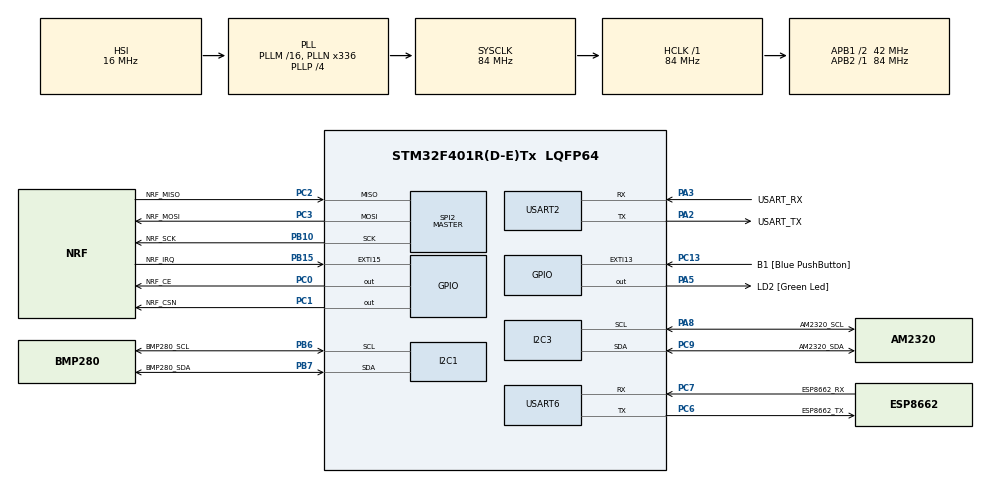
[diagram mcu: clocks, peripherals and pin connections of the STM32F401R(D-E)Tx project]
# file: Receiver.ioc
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Dma.Request0=USART6_RX
Dma.USART6_RX.0.Direction=DMA_PERIPH_TO_MEMORY
Dma.USART6_RX.0.FIFOMode=DMA_FIFOMODE_DISABLE
Dma.USART6_RX.0.Instance=DMA2_Stream1
Dma.USART6_RX.0.MemDataAlignment=DMA_MDATAALIGN_BYTE
Dma.USART6_RX.0.MemInc=DMA_MINC_ENABLE
Dma.USART6_RX.0.Mode=DMA_NORMAL
Dma.USART6_RX.0.PeriphDataAlignment=DMA_PDATAALIGN_BYTE
Dma.USART6_RX.0.PeriphInc=DMA_PINC_DISABLE
Dma.USART6_RX.0.Priority=DMA_PRIORITY_LOW
Mcu.Family=STM32F4
Mcu.Name=STM32F401R(D-E)Tx
Mcu.Package=LQFP64
NVIC.DMA2_Stream1_IRQn=true\:3\:0\:true\:false\:true\:false\:true\:true
NVIC.EXTI15_10_IRQn=true\:0\:0\:true\:false\:true\:true\:true\:true
NVIC.PriorityGroup=NVIC_PRIORITYGROUP_3
NVIC.TIM1_TRG_COM_TIM11_IRQn=true\:3\:0\:true\:false\:true\:true\:true\:true
NVIC.TIM1_UP_TIM10_IRQn=true\:2\:0\:true\:false\:true\:true\:true\:true
NVIC.USART6_IRQn=true\:3\:0\:true\:false\:true\:true\:true\:true
PA13.GPIO_Label=TMS
PA13.Mode=Serial_Wire
PA13.Signal=SYS_JTMS-SWDIO
PA14.GPIO_Label=TCK
PA14.Mode=Serial_Wire
PA14.Signal=SYS_JTCK-SWCLK
PA2.GPIO_Label=USART_TX
PA2.GPIO_Mode=GPIO_MODE_AF_PP
PA2.GPIO_PuPd=GPIO_NOPULL
PA2.GPIO_Speed=GPIO_SPEED_FREQ_LOW
PA2.Mode=Asynchronous
PA2.Signal=USART2_TX
PA3.GPIO_Label=USART_RX
PA3.GPIO_Mode=GPIO_MODE_AF_PP
PA3.GPIO_PuPd=GPIO_NOPULL
PA3.GPIO_Speed=GPIO_SPEED_FREQ_LOW
PA3.Mode=Asynchronous
PA3.Signal=USART2_RX
PA5.GPIO_Label=LD2 [Green Led]
PA5.GPIO_Mode=GPIO_MODE_OUTPUT_PP
PA5.GPIO_PuPd=GPIO_NOPULL
PA5.GPIO_Speed=GPIO_SPEED_FREQ_LOW
PA5.Signal=GPIO_Output
PA8.GPIO_Label=AM2320_SCL
PA8.Mode=I2C
PA8.Signal=I2C3_SCL
PB10.GPIO_Label=NRF_SCK
PB10.Mode=Full_Duplex_Master
PB10.Signal=SPI2_SCK
PB15.GPIO_Label=NRF_IRQ
PB15.GPIO_ModeDefaultEXTI=GPIO_MODE_IT_FALLING
PB15.Signal=GPXTI15
PB3.GPIO_Label=SWO
PB3.Signal=SYS_JTDO-SWO
PB6.GPIO_Label=BMP280_SCL
PB6.Mode=I2C
PB6.Signal=I2C1_SCL
PB7.GPIO_Label=BMP280_SDA
PB7.Mode=I2C
PB7.Signal=I2C1_SDA
PC0.GPIO_Label=NRF_CE
PC0.Signal=GPIO_Output
PC1.GPIO_Label=NRF_CSN
PC1.Signal=GPIO_Output
PC13-ANTI_TAMP.GPIO_Label=B1 [Blue PushButton]
PC13-ANTI_TAMP.GPIO_ModeDefaultEXTI=GPIO_MODE_IT_FALLING
PC13-ANTI_TAMP.GPIO_PuPd=GPIO_NOPULL
PC13-ANTI_TAMP.Signal=GPXTI13
PC14-OSC32_IN.Mode=LSE-External-Oscillator
PC14-OSC32_IN.Signal=RCC_OSC32_IN
PC15-OSC32_OUT.Mode=LSE-External-Oscillator
PC15-OSC32_OUT.Signal=RCC_OSC32_OUT
PC2.GPIO_Label=NRF_MISO
PC2.Mode=Full_Duplex_Master
PC2.Signal=SPI2_MISO
PC3.GPIO_Label=NRF_MOSI
PC3.Mode=Full_Duplex_Master
PC3.Signal=SPI2_MOSI
PC6.GPIO_Label=ESP8662_TX
PC6.Mode=Asynchronous
PC6.Signal=USART6_TX
PC7.GPIO_Label=ESP8662_RX
PC7.Mode=Asynchronous
PC7.Signal=USART6_RX
PC9.GPIO_Label=AM2320_SDA
PC9.Mode=I2C
PC9.Signal=I2C3_SDA
PH0\ -\ OSC_IN.Mode=HSE-External-Clock-Source
PH0\ -\ OSC_IN.Signal=RCC_OSC_IN
PH1\ -\ OSC_OUT.Mode=HSE-External-Clock-Source
PH1\ -\ OSC_OUT.Signal=RCC_OSC_OUT
ProjectManager.HeapSize=0x200
ProjectManager.StackSize=0x400
ProjectManager.TargetToolchain=STM32CubeIDE
RCC.48MHZClocksFreq_Value=48000000
RCC.AHBFreq_Value=84000000
RCC.APB1CLKDivider=RCC_HCLK_DIV2
RCC.APB1Freq_Value=42000000
RCC.APB1TimFreq_Value=84000000
RCC.APB2Freq_Value=84000000
RCC.APB2TimFreq_Value=84000000
RCC.CortexFreq_Value=84000000
RCC.HCLKFreq_Value=84000000
RCC.HSE_VALUE=8000000
RCC.HSI_VALUE=16000000
RCC.PLLN=336
RCC.PLLP=RCC_PLLP_DIV4
RCC.PLLQ=7
RCC.SYSCLKFreq_VALUE=84000000
RCC.SYSCLKSource=RCC_SYSCLKSOURCE_PLLCLK
RCC.VCOOutputFreq_Value=336000000
SPI2.Direction=SPI_DIRECTION_2LINES
SPI2.Mode=SPI_MODE_MASTER
SPI2.VirtualType=VM_MASTER
TIM10.Period=60000-1
TIM10.Prescaler=42000-1
TIM11.AutoReloadPreload=TIM_AUTORELOAD_PRELOAD_DISABLE
TIM11.Period=32000-1
TIM11.Prescaler=42000-1
TIM3.Prescaler=42000-1
USART2.VirtualMode=VM_ASYNC
USART6.VirtualMode=VM_ASYNC
VP_TIM10_VS_ClockSourceINT.Mode=Enable_Timer
VP_TIM11_VS_ClockSourceINT.Mode=Enable_Timer
VP_TIM3_VS_ClockSourceINT.Mode=Internal
board=NUCLEO-F401RE

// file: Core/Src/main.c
/* USER CODE BEGIN Header */
/**
 ******************************************************************************
 * @file           : main.c
 * @brief          : Main program body
 ******************************************************************************
 * @attention
 *
 * Copyright (c) 2022 STMicroelectronics.
 * All rights reserved.
 *
 * This software is licensed under terms that can be found in the LICENSE file
 * in the root directory of this software component.
 * If no LICENSE file comes with this software, it is provided AS-IS.
 *
 ******************************************************************************
 */
/* USER CODE END Header */
#include "main.h"

/* USER CODE BEGIN Includes */
#include "nrf/nrf.h"
#include "nrf/nrf_defines.h"
#include <stdio.h>
#include "bmp280.h"
#include "am2320.h"
#include "esp8662.h"
/* USER CODE END Includes */

/* USER CODE BEGIN PD */
UARTDMA_HandleTypeDef huartdma;
/* USER CODE END PD */

I2C_HandleTypeDef hi2c1;
I2C_HandleTypeDef hi2c3;

SPI_HandleTypeDef hspi2;

TIM_HandleTypeDef htim3;
TIM_HandleTypeDef htim10;
TIM_HandleTypeDef htim11;

UART_HandleTypeDef huart2;
UART_HandleTypeDef huart6;
DMA_HandleTypeDef hdma_usart6_rx;

/* USER CODE BEGIN PV */
// nrf interrupt flag
uint8_t nrfInterrupt = 0;

// bmp measurements variables
int32_t bmp280_temp;
uint32_t bmp280_press;

// timer elapsed interrupt flag
uint8_t timerElapsedFlag = 0;
uint8_t startMeasFlag = 0;

// structs for measurements
RawMeasurements raw_data;
WeatherDataToSend weather_data;
static uint8_t thingspeakTimeoutFlag = 0;
/* USER CODE END PV */

void SystemClock_Config(void);
static void MX_GPIO_Init(void);
static void MX_DMA_Init(void);
static void MX_USART2_UART_Init(void);
static void MX_I2C1_Init(void);
static void MX_I2C3_Init(void);
static void MX_SPI2_Init(void);
static void MX_USART6_UART_Init(void);
static void MX_TIM10_Init(void);
static void MX_TIM3_Init(void);
static void MX_TIM11_Init(void);

/* USER CODE BEGIN 0 */
int __io_putchar(int ch)
{
	if (ch == '\n') {
		__io_putchar('\r');
	}

	HAL_UART_Transmit(&huart2, (uint8_t*)&ch, 1, HAL_MAX_DELAY);

	return 1;
}
/* USER CODE END 0 */

int main(void)
{

  /* MCU Configuration--------------------------------------------------------*/

  /* Reset of all peripherals, Initializes the Flash interface and the Systick. */
  HAL_Init();

  /* Configure the system clock */
  SystemClock_Config();

  /* Initialize all configured peripherals */
  MX_GPIO_Init();
  MX_DMA_Init();
  MX_USART2_UART_Init();
  MX_I2C1_Init();
  MX_I2C3_Init();
  MX_SPI2_Init();
  MX_USART6_UART_Init();
  MX_TIM10_Init();
  MX_TIM3_Init();
  MX_TIM11_Init();
  /* USER CODE BEGIN 2 */

	HAL_TIM_Base_Start_IT(&htim10);
	// am2320 init
	AM2320_HandleTypeDef am2320 = am2320_init(&hi2c3, AM2320_ADDRESS);

	// bmp280 init
	BMP280_HandleTypedef bmp280;
	bmp280.i2c_handle_ = &hi2c1;
	bmp280_init_force_mode(&bmp280);

	// nrf init
	NRF_HandleTypedef nrf;
	if(!NRF_Init(&nrf)){
		Error_Handler();
	}

	// pipe configuration
	// address will be clocked from last to first
	// need to clock the same address as for transmitter
	static uint8_t nrf_addr[] = {0x69, 0x21, 0x37};
	if(!NRF_SET_PipeAddress(RX_PIPE_0, nrf_addr)){
		return NRF_ERROR;
	}
	// prepare pipe
	if(!NRF_SET_PipeRX(RX_PIPE_0, AA_ON, (uint8_t)12)){
		return NRF_ERROR;
	}

	// set mode to receiver
	if(!NRF_SET_Mode(RX)){
		return NRF_ERROR;
	}

	// turn transmitter on and wait for at least 1.5 ms
	if(!NRF_SET_PowerMode(PWR_UP)){
		return NRF_ERROR;
	}
	HAL_Delay(2);
	// put receiver in rx mode by enabling CE pin
	NRF_CE_SET_HIGH;

//	NRF_PrintConfig();

	UARTDMA_Init(&huartdma, &huart6);
	ESP_ERROR_CODE ret;

	for(int i = 0; i < 5; i++){
		ret = ESP_Init();
		if(ret != ESP_OK){
			HAL_Delay(5000);
		}
		else if(ret == ESP_OK){
			break;
		}
	}
	for(int i = 0; i < 5; i++){
		ret = ESP_WiFiConnect("your_SSID", "your_wifi_pass");
		if(ret != ESP_OK){
			HAL_Delay(5000);
		}
		else if(ret == ESP_OK){
			break;
		}
	}
  /* USER CODE END 2 */

  /* Infinite loop */
  /* USER CODE BEGIN WHILE */
//	printf("got here\r\n");
	uint8_t data_buffer[12];
	while (1)
	{
		if(startMeasFlag){
			if(am2320_read_temperature_and_humidity(&am2320)){
				raw_data.base_am2320_humidity = am2320.last_humidity;
				raw_data.base_am2320_temperature = am2320.last_temperature;
			}
			else{
				raw_data.base_am2320_humidity = 255;
				raw_data.base_am2320_temperature = 255;
			}
			if(bmp280_force_measurement(&bmp280)){
				if(bmp280_get_measurements(&bmp280, &bmp280_press, &bmp280_temp)){
					raw_data.base_bmp280_press = bmp280_press;
					raw_data.base_bmp280_temp = bmp280_temp;
				}
				else{
					raw_data.base_bmp280_press = 0;
					raw_data.base_bmp280_temp = 255;
				}
			}
			else{
				raw_data.base_bmp280_press = 0;
				raw_data.base_bmp280_temp = 255;
			}
			// check if you can send to thingspeak; if yes then send and start 16 sec timer, if no then wait
			while(thingspeakTimeoutFlag);

			ESP_WeatherDataPrepare(&weather_data, &raw_data, 1);
			for(int i = 0; i < 5; i++){
				ret = ESP_SendData("184.106.153.149", &weather_data, 1);
				if(ret != ESP_OK){
					HAL_Delay(5000);
				}
				else if(ret == ESP_OK){
					break;
				}
			}
			__HAL_TIM_CLEAR_IT(&htim11, TIM_IT_UPDATE);
			thingspeakTimeoutFlag = 1;
			HAL_TIM_Base_Start_IT(&htim11);
			startMeasFlag = 0;
		}
		if(nrfInterrupt){
			NRF_IRQ_Callback(&nrfInterrupt, data_buffer);
			raw_data.remote_am2320_temperature = (data_buffer[0]<<8)+data_buffer[1];
			raw_data.remote_am2320_humidity = (data_buffer[2]<<8)+data_buffer[3];
			raw_data.remote_bmp280_temp = (data_buffer[4]<<24)+(data_buffer[5]<<16)+(data_buffer[6]<<8)+data_buffer[7];
			raw_data.remote_bmp280_press = (data_buffer[8]<<24)+(data_buffer[9]<<16)+(data_buffer[10]<<8)+data_buffer[11];

			//prep data
			ESP_WeatherDataPrepare(&weather_data, &raw_data, 0);

			// check if you can send to thingspeak; if yes then send and start 16 sec timer, if no then wait
			while(thingspeakTimeoutFlag);

			ESP_WeatherDataPrepare(&weather_data, &raw_data, 0);
			for(int i = 0; i < 5; i++){
				ret = ESP_SendData("184.106.153.149", &weather_data, 0);
				if(ret != ESP_OK){
					HAL_Delay(5000);
				}
				else if(ret == ESP_OK){
					break;
				}
			}
			__HAL_TIM_CLEAR_IT(&htim11, TIM_IT_UPDATE);
			thingspeakTimeoutFlag = 1;
			HAL_TIM_Base_Start_IT(&htim11);
		}

    /* USER CODE END WHILE */

	}
}

void SystemClock_Config(void)
{
  RCC_OscInitTypeDef RCC_OscInitStruct = {0};
  RCC_ClkInitTypeDef RCC_ClkInitStruct = {0};

  /** Configure the main internal regulator output voltage
  */
  __HAL_RCC_PWR_CLK_ENABLE();
  __HAL_PWR_VOLTAGESCALING_CONFIG(PWR_REGULATOR_VOLTAGE_SCALE2);

  /** Initializes the RCC Oscillators according to the specified parameters
  * in the RCC_OscInitTypeDef structure.
  */
  RCC_OscInitStruct.OscillatorType = RCC_OSCILLATORTYPE_HSI;
  RCC_OscInitStruct.HSIState = RCC_HSI_ON;
  RCC_OscInitStruct.HSICalibrationValue = RCC_HSICALIBRATION_DEFAULT;
  RCC_OscInitStruct.PLL.PLLState = RCC_PLL_ON;
  RCC_OscInitStruct.PLL.PLLSource = RCC_PLLSOURCE_HSI;
  RCC_OscInitStruct.PLL.PLLM = 16;
  RCC_OscInitStruct.PLL.PLLN = 336;
  RCC_OscInitStruct.PLL.PLLP = RCC_PLLP_DIV4;
  RCC_OscInitStruct.PLL.PLLQ = 7;
  if (HAL_RCC_OscConfig(&RCC_OscInitStruct) != HAL_OK)
  {
    Error_Handler();
  }

  /** Initializes the CPU, AHB and APB buses clocks
  */
  RCC_ClkInitStruct.ClockType = RCC_CLOCKTYPE_HCLK|RCC_CLOCKTYPE_SYSCLK
                              |RCC_CLOCKTYPE_PCLK1|RCC_CLOCKTYPE_PCLK2;
  RCC_ClkInitStruct.SYSCLKSource = RCC_SYSCLKSOURCE_PLLCLK;
  RCC_ClkInitStruct.AHBCLKDivider = RCC_SYSCLK_DIV1;
  RCC_ClkInitStruct.APB1CLKDivider = RCC_HCLK_DIV2;
  RCC_ClkInitStruct.APB2CLKDivider = RCC_HCLK_DIV1;

  if (HAL_RCC_ClockConfig(&RCC_ClkInitStruct, FLASH_LATENCY_2) != HAL_OK)
  {
    Error_Handler();
  }
}

static void MX_I2C1_Init(void)
{

  hi2c1.Instance = I2C1;
  hi2c1.Init.ClockSpeed = 100000;
  hi2c1.Init.DutyCycle = I2C_DUTYCYCLE_2;
  hi2c1.Init.OwnAddress1 = 0;
  hi2c1.Init.AddressingMode = I2C_ADDRESSINGMODE_7BIT;
  hi2c1.Init.DualAddressMode = I2C_DUALADDRESS_DISABLE;
  hi2c1.Init.OwnAddress2 = 0;
  hi2c1.Init.GeneralCallMode = I2C_GENERALCALL_DISABLE;
  hi2c1.Init.NoStretchMode = I2C_NOSTRETCH_DISABLE;
  if (HAL_I2C_Init(&hi2c1) != HAL_OK)
  {
    Error_Handler();
  }

}

static void MX_I2C3_Init(void)
{

  hi2c3.Instance = I2C3;
  hi2c3.Init.ClockSpeed = 100000;
  hi2c3.Init.DutyCycle = I2C_DUTYCYCLE_2;
  hi2c3.Init.OwnAddress1 = 0;
  hi2c3.Init.AddressingMode = I2C_ADDRESSINGMODE_7BIT;
  hi2c3.Init.DualAddressMode = I2C_DUALADDRESS_DISABLE;
  hi2c3.Init.OwnAddress2 = 0;
  hi2c3.Init.GeneralCallMode = I2C_GENERALCALL_DISABLE;
  hi2c3.Init.NoStretchMode = I2C_NOSTRETCH_DISABLE;
  if (HAL_I2C_Init(&hi2c3) != HAL_OK)
  {
    Error_Handler();
  }

}

static void MX_SPI2_Init(void)
{

  /* SPI2 parameter configuration*/
  hspi2.Instance = SPI2;
  hspi2.Init.Mode = SPI_MODE_MASTER;
  hspi2.Init.Direction = SPI_DIRECTION_2LINES;
  hspi2.Init.DataSize = SPI_DATASIZE_8BIT;
  hspi2.Init.CLKPolarity = SPI_POLARITY_LOW;
  hspi2.Init.CLKPhase = SPI_PHASE_1EDGE;
  hspi2.Init.NSS = SPI_NSS_SOFT;
  hspi2.Init.BaudRatePrescaler = SPI_BAUDRATEPRESCALER_2;
  hspi2.Init.FirstBit = SPI_FIRSTBIT_MSB;
  hspi2.Init.TIMode = SPI_TIMODE_DISABLE;
  hspi2.Init.CRCCalculation = SPI_CRCCALCULATION_DISABLE;
  hspi2.Init.CRCPolynomial = 10;
  if (HAL_SPI_Init(&hspi2) != HAL_OK)
  {
    Error_Handler();
  }

}

static void MX_TIM3_Init(void)
{

  TIM_ClockConfigTypeDef sClockSourceConfig = {0};
  TIM_MasterConfigTypeDef sMasterConfig = {0};

  htim3.Instance = TIM3;
  htim3.Init.Prescaler = 42000-1;
  htim3.Init.CounterMode = TIM_COUNTERMODE_UP;
  htim3.Init.Period = 65535;
  htim3.Init.ClockDivision = TIM_CLOCKDIVISION_DIV1;
  htim3.Init.AutoReloadPreload = TIM_AUTORELOAD_PRELOAD_DISABLE;
  if (HAL_TIM_Base_Init(&htim3) != HAL_OK)
  {
    Error_Handler();
  }
  sClockSourceConfig.ClockSource = TIM_CLOCKSOURCE_INTERNAL;
  if (HAL_TIM_ConfigClockSource(&htim3, &sClockSourceConfig) != HAL_OK)
  {
    Error_Handler();
  }
  sMasterConfig.MasterOutputTrigger = TIM_TRGO_RESET;
  sMasterConfig.MasterSlaveMode = TIM_MASTERSLAVEMODE_DISABLE;
  if (HAL_TIMEx_MasterConfigSynchronization(&htim3, &sMasterConfig) != HAL_OK)
  {
    Error_Handler();
  }

}

static void MX_TIM10_Init(void)
{

  htim10.Instance = TIM10;
  htim10.Init.Prescaler = 42000-1;
  htim10.Init.CounterMode = TIM_COUNTERMODE_UP;
  htim10.Init.Period = 60000-1;
  htim10.Init.ClockDivision = TIM_CLOCKDIVISION_DIV1;
  htim10.Init.AutoReloadPreload = TIM_AUTORELOAD_PRELOAD_DISABLE;
  if (HAL_TIM_Base_Init(&htim10) != HAL_OK)
  {
    Error_Handler();
  }

}

static void MX_TIM11_Init(void)
{

  htim11.Instance = TIM11;
  htim11.Init.Prescaler = 42000-1;
  htim11.Init.CounterMode = TIM_COUNTERMODE_UP;
  htim11.Init.Period = 32000-1;
  htim11.Init.ClockDivision = TIM_CLOCKDIVISION_DIV1;
  htim11.Init.AutoReloadPreload = TIM_AUTORELOAD_PRELOAD_DISABLE;
  if (HAL_TIM_Base_Init(&htim11) != HAL_OK)
  {
    Error_Handler();
  }

}

static void MX_USART2_UART_Init(void)
{

  huart2.Instance = USART2;
  huart2.Init.BaudRate = 115200;
  huart2.Init.WordLength = UART_WORDLENGTH_8B;
  huart2.Init.StopBits = UART_STOPBITS_1;
  huart2.Init.Parity = UART_PARITY_NONE;
  huart2.Init.Mode = UART_MODE_TX_RX;
  huart2.Init.HwFlowCtl = UART_HWCONTROL_NONE;
  huart2.Init.OverSampling = UART_OVERSAMPLING_16;
  if (HAL_UART_Init(&huart2) != HAL_OK)
  {
    Error_Handler();
  }

}

static void MX_USART6_UART_Init(void)
{

  huart6.Instance = USART6;
  huart6.Init.BaudRate = 115200;
  huart6.Init.WordLength = UART_WORDLENGTH_8B;
  huart6.Init.StopBits = UART_STOPBITS_1;
  huart6.Init.Parity = UART_PARITY_NONE;
  huart6.Init.Mode = UART_MODE_TX_RX;
  huart6.Init.HwFlowCtl = UART_HWCONTROL_NONE;
  huart6.Init.OverSampling = UART_OVERSAMPLING_16;
  if (HAL_UART_Init(&huart6) != HAL_OK)
  {
    Error_Handler();
  }

}

static void MX_DMA_Init(void)
{

  /* DMA controller clock enable */
  __HAL_RCC_DMA2_CLK_ENABLE();

  /* DMA interrupt init */
  /* DMA2_Stream1_IRQn interrupt configuration */
  HAL_NVIC_SetPriority(DMA2_Stream1_IRQn, 3, 0);
  HAL_NVIC_EnableIRQ(DMA2_Stream1_IRQn);

}

static void MX_GPIO_Init(void)
{
  GPIO_InitTypeDef GPIO_InitStruct = {0};

  /* GPIO Ports Clock Enable */
  __HAL_RCC_GPIOC_CLK_ENABLE();
  __HAL_RCC_GPIOH_CLK_ENABLE();
  __HAL_RCC_GPIOA_CLK_ENABLE();
  __HAL_RCC_GPIOB_CLK_ENABLE();

  /*Configure GPIO pin Output Level */
  HAL_GPIO_WritePin(GPIOC, NRF_CE_Pin|NRF_CSN_Pin, GPIO_PIN_RESET);

  /*Configure GPIO pin Output Level */
  HAL_GPIO_WritePin(LD2_GPIO_Port, LD2_Pin, GPIO_PIN_RESET);

  /*Configure GPIO pin : B1_Pin */
  GPIO_InitStruct.Pin = B1_Pin;
  GPIO_InitStruct.Mode = GPIO_MODE_IT_FALLING;
  GPIO_InitStruct.Pull = GPIO_NOPULL;
  HAL_GPIO_Init(B1_GPIO_Port, &GPIO_InitStruct);

  /*Configure GPIO pins : NRF_CE_Pin NRF_CSN_Pin */
  GPIO_InitStruct.Pin = NRF_CE_Pin|NRF_CSN_Pin;
  GPIO_InitStruct.Mode = GPIO_MODE_OUTPUT_PP;
  GPIO_InitStruct.Pull = GPIO_NOPULL;
  GPIO_InitStruct.Speed = GPIO_SPEED_FREQ_LOW;
  HAL_GPIO_Init(GPIOC, &GPIO_InitStruct);

  /*Configure GPIO pin : LD2_Pin */
  GPIO_InitStruct.Pin = LD2_Pin;
  GPIO_InitStruct.Mode = GPIO_MODE_OUTPUT_PP;
  GPIO_InitStruct.Pull = GPIO_NOPULL;
  GPIO_InitStruct.Speed = GPIO_SPEED_FREQ_LOW;
  HAL_GPIO_Init(LD2_GPIO_Port, &GPIO_InitStruct);

  /*Configure GPIO pin : NRF_IRQ_Pin */
  GPIO_InitStruct.Pin = NRF_IRQ_Pin;
  GPIO_InitStruct.Mode = GPIO_MODE_IT_FALLING;
  GPIO_InitStruct.Pull = GPIO_NOPULL;
  HAL_GPIO_Init(NRF_IRQ_GPIO_Port, &GPIO_InitStruct);

  /* EXTI interrupt init*/
  HAL_NVIC_SetPriority(EXTI15_10_IRQn, 0, 0);
  HAL_NVIC_EnableIRQ(EXTI15_10_IRQn);

}

/* USER CODE BEGIN 4 */
// nrf irq pin interrupt
void HAL_GPIO_EXTI_Callback(uint16_t GPIO_Pin){
	if(GPIO_Pin == NRF_IRQ_Pin){
		// if interrupt comes from IRQ pin, then set flag
		nrfInterrupt = 1;
	}
}

// 2 minute timer interrupt
void HAL_TIM_PeriodElapsedCallback(TIM_HandleTypeDef *htim){
	if(htim == &htim10){
		timerElapsedFlag++;
		if(timerElapsedFlag == 4){
			startMeasFlag = 1;
			timerElapsedFlag = 0;
		}
	}
	if(htim == &htim11){
		thingspeakTimeoutFlag = 0;
		HAL_TIM_Base_Stop_IT(&htim11);
		TIM11->CNT = 0;
	}
}
/* USER CODE END 4 */

void Error_Handler(void)
{
	__disable_irq();
	while (1)
	{
	}
}
